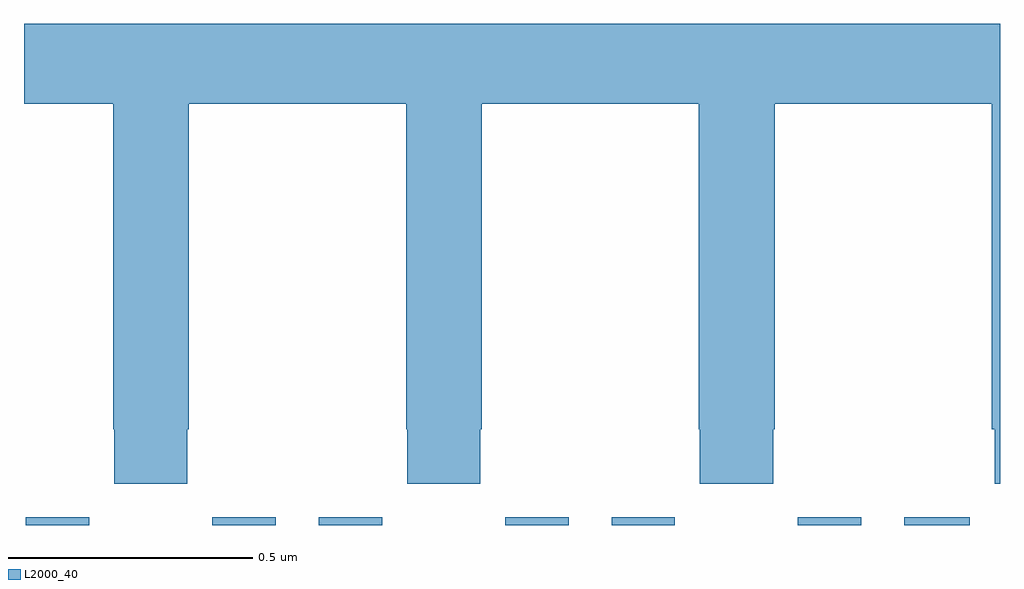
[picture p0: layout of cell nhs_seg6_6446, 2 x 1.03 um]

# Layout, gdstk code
import gdstk
lib = gdstk.Library(unit=1e-6, precision=1e-09)
def R(c, l, rs):  # rectangles x0, y0, x1, y1
    for r in rs: c.add(gdstk.rectangle(r[:2], r[2:], *l))
def P(c, l, *ps):  # polygons
    for p in ps: c.add(gdstk.Polygon(p, *l))
L2000_40 = (2000, 40)

nhs_seg6_6446 = lib.new_cell('nhs_seg6_6446')
R(nhs_seg6_6446, L2000_40, [(196.004,918.5,196.134,918.517), (196.386,918.5,196.516,918.517), (196.604,918.5,196.734,918.517), (196.986,918.5,197.116,918.517), (197.204,918.5,197.334,918.517), (197.586,918.5,197.716,918.517), (197.804,918.5,197.938,918.517)])
P(nhs_seg6_6446, L2000_40, [(196.335,918.697),(196.338,918.697),(196.338,919.364),(196.783,919.364),(196.783,918.697),(196.785,918.697),(196.785,918.585),(196.935,918.585),(196.935,918.697),(196.938,918.697),(196.938,919.364),(197.383,919.364),(197.383,918.697),(197.385,918.697),(197.385,918.585),(197.535,918.585),(197.535,918.697),(197.538,918.697),(197.538,919.364),(197.983,919.364),(197.983,918.697),(197.989,918.697),(197.989,918.585),(198,918.585),(198,919.528),(196,919.528),(196,919.364),(196.183,919.364),(196.183,918.697),(196.185,918.697),(196.185,918.585),(196.335,918.585)])

lib.write_gds('nhs_seg6_6446.gds')
